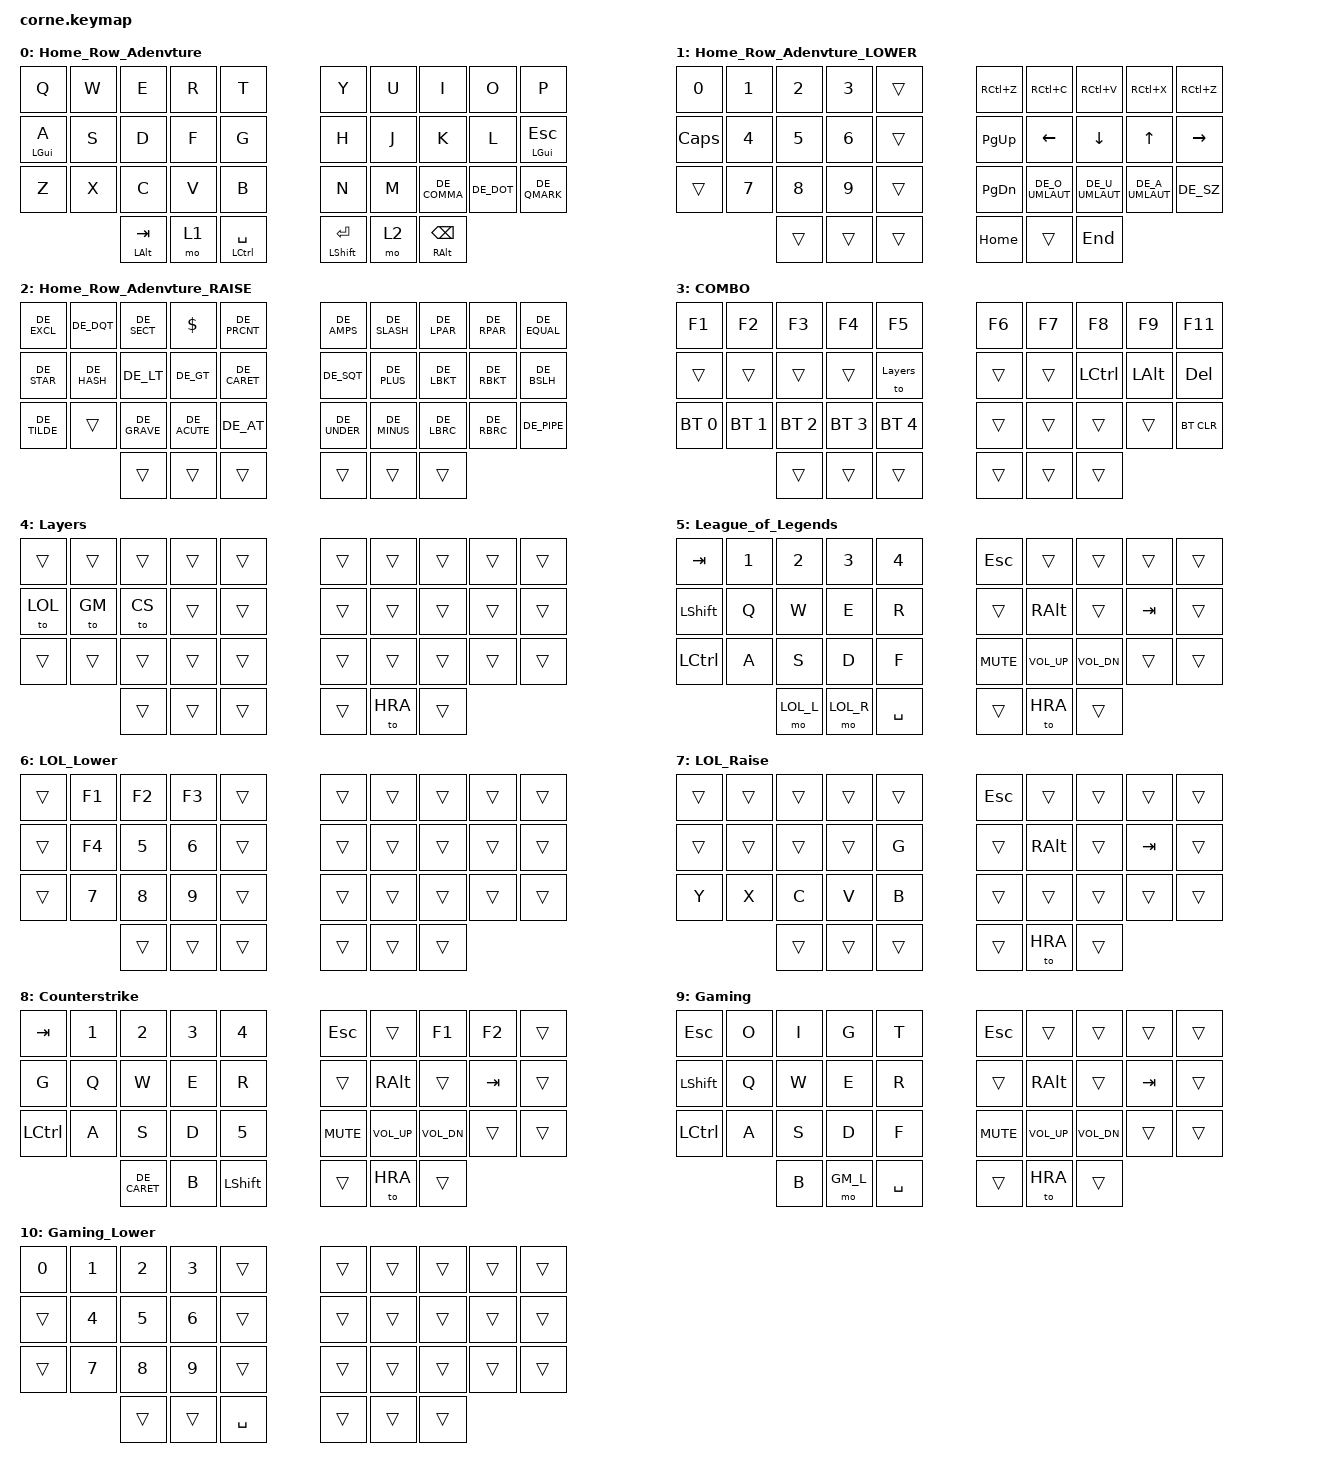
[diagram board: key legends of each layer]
/*
 * Copyright (c) 2020 The ZMK Contributors
 *
 * SPDX-License-Identifier: MIT
 */


#include "keys_de.h"
#include <behaviors.dtsi>
#include <dt-bindings/zmk/keys.h>
#include <dt-bindings/zmk/bt.h>


// Layers
#define HRA     0
#define HRA_L   1
#define HRA_R   2
#define Combo   3
#define Layers  4
#define LOL     5
#define LOL_L   6
#define LOL_R   7
#define CS      8
#define GM      9
#define GM_L    10

/ {
        chosen {
                zmk,matrix_transform = &five_column_transform;
        };
        behaviors {
            ht: hold_tap {   
                label = "hold_tap";
                compatible = "zmk,behavior-hold-tap";
                #binding-cells = <2>;
                flavor = "tap-preferred";
                tapping-term-ms = <220>;
                quick-tap-ms = <150>;
                global-quick-tap;
                bindings = <&kp>, <&kp>;
                };

    conditional_layers {
        compatible = "zmk,conditional-layers";
        combo   {
            if-layers = <1 2>;
            then-layer = <3>;
                        };
                };
        };

        keymap {
                compatible = "zmk,keymap";

                Home_Row_Adenvture {
// -----------------------------------------------------------------------------------------
// |  Q  |  W  |  E  |  R  |  T  |   |  Z  |  U   |  I  |  O  |  P   |
// |  A  |  S  |  D  |  F  |  G  |   |  H  |  J   |  K  |  L  |  ESC |
// |  Y  |  X  |  C  |  V  |  B  |   |  N  |  M   |  ,  |  .  |  ?   |
//             | TAB | LWR | SPC |   | ENT | RSE  | BSP |
                       
                        bindings = <
    &kp Q       &kp W    &kp E      &kp R  &kp T       &kp Y         &kp U  &kp I        &kp O      &kp P    
    &ht LGUI A  &kp S    &kp D      &kp F  &kp G       &kp H         &kp J  &kp K        &kp L      &ht LGUI ESC
    &kp Z       &kp X    &kp C      &kp V  &kp B       &kp N         &kp M  &kp DE_COMMA &kp DE_DOT &kp DE_QMARK 
                &ht LALT TAB &mo 1  &ht LCTRL SPACE    &ht LSHFT RET &mo 2  &ht RALT BSPC
                        >;
                };

                Home_Row_Adenvture_LOWER {
// -----------------------------------------------------------------------------------------
// |  0   |  1  |  2  |  3  |    |    |  UNDO  | COPY  | PASTE  |  CUT  |  REDO  |
// | CAPS |  4  |  5  |  6  |    |    |  PG UP |  <-   |  UP    |  DOWN |   ->   |
// |      |  7  |  8  |  9  |    |    |  PG DN |   Ö   |   Ü    |   Ä   |    ß   |
//              |     |     |    |    |  HOME  |       |  END   |

                        bindings = <
   &kp N0       &kp N1    &kp N2    &kp N3    &trans           &kp RC(Z)      &kp RC(C)           &kp RC(V)           &kp RC(X)           &kp RC(Z) 
   &kp CAPS     &kp N4    &kp N5    &kp N6    &trans           &kp PG_UP      &kp LEFT            &kp DOWN            &kp UP              &kp RIGHT  
   &trans       &kp N7    &kp N8    &kp N9    &trans           &kp PG_DN      &kp DE_O_UMLAUT     &kp DE_U_UMLAUT     &kp DE_A_UMLAUT     &kp DE_SZ    
                          &trans   &trans     &trans           &kp HOME       &trans       &kp END
                        >;
                };

                Home_Row_Adenvture_RAISE {
// -----------------------------------------------------------------------------------------
// |  !  |  "  |  §  |  $  |  %  |   |  &  |  /   |  (  |  )  |  =  |
// |  *  |  #  |  <  |  >  |  ^  |   |  '  |  +   |  [  |  ]  |  \  |
// |  ~  |     |  `  |  ´  |  @  |   |  _  |  -   |  {  |  }  |  |  |
//             |     |     |     |   |     |      |     |

                        bindings = <
   &kp DE_EXCL  &kp DE_DQT   &kp DE_SECT   &kp DLLR     &kp DE_PRCNT            &kp DE_AMPS   &kp DE_SLASH  &kp DE_LPAR &kp DE_RPAR   &kp DE_EQUAL 
   &kp DE_STAR  &kp DE_HASH  &kp DE_LT     &kp DE_GT    &kp DE_CARET            &kp DE_SQT    &kp DE_PLUS   &kp DE_LBKT &kp DE_RBKT   &kp DE_BSLH 
   &kp DE_TILDE &trans       &kp DE_GRAVE  &kp DE_ACUTE &kp DE_AT               &kp DE_UNDER  &kp DE_MINUS  &kp DE_LBRC &kp DE_RBRC   &kp DE_PIPE 
                             &trans        &trans       &trans                  &trans         &trans        &trans
                        >;
                };

                COMBO {
// -----------------------------------------------------------------------------------------
// |  F1  |  F2  |  F3  |  F4  | F5      |   |  F6   |   F7   |  F8   |  F9   |  F11   |
// |      |      |      |      | LAYERS  |   |       |        | CTRL  |  ALT  |  DEL   |
// |  BT0 |  BT1 | BT2  | BT3  | BT4     |   |       |        |       |       | BT CLR |
//               |      |      |         |   |       |        |       |

                        bindings = <
   &kp F1      &kp F2        &kp F3       &kp F4       &kp F5           &kp F6    &kp F7     &kp F8      &kp F9     &kp F11 
   &trans      &trans        &trans       &trans       &to Layers       &trans    &trans     &kp LCTRL   &kp LALT   &kp DEL   
   &bt BT_SEL 0 &bt BT_SEL 1 &bt BT_SEL 2 &bt BT_SEL 3 &bt BT_SEL 4     &trans    &trans     &trans      &trans     &bt BT_CLR 
                             &trans       &trans       &trans           &trans    &trans     &trans
                        >;
                };

                Layers {
// -----------------------------------------------------------------------------------------
// |     |        |    |            |            |      |        |   |   |   |   |   
// | LOL | Gaming | CS | Elden Ring | ARK        |      | SHAPEZ |   |   |   |   |
// |     |        |    |            |            |      |        |   |   |   |   |
//                |    |            |            |      |        |   |   |

                        bindings = <
   &trans      &trans        &trans      &trans       &trans           &trans     &trans     &trans      &trans     &trans 
   &to LOL     &to GM        &to CS      &trans       &trans           &trans     &trans      &trans     &trans     &trans
   &trans      &trans        &trans      &trans       &trans           &trans     &trans     &trans      &trans     &trans 
                             &trans      &trans       &trans           &trans     &to HRA    &trans
                        >;
                };

                League_of_Legends {
// -----------------------------------------------------------------------------------------
// |  TAB    |  1  |  2  |  3  |  4  |   | ESC     |        |        |     |     |
// |  SHFT   |  Q  |  W  |  E  |  R  |   |         | ALT    |        | TAB |     |     
// |  CTRL   |  A  |  S  |  D  |  F  |   |  MUTE   | VOL UP | VOL DN |     |     |
//                 | LWR | RSE | SPC |   |         | HRA    |        |

                        bindings = <
    &kp TAB    &kp N1  &kp N2      &kp N3      &kp N4      &kp ESC &trans    &trans  &trans   &trans    
    &kp LSHIFT &kp Q   &kp W       &kp E       &kp R       &trans  &kp RALT  &trans  &kp TAB  &trans
    &kp LCTRL  &kp A   &kp S       &kp D       &kp F       &kp C_MUTE  &kp C_VOL_UP    &kp C_VOL_DN  &trans   &trans
                       &mo LOL_L   &mo LOL_R   &kp SPACE   &trans  &to HRA   &trans
                        >;
                };
                 
                LOL_Lower {
// -----------------------------------------------------------------------------------------
// |        |  F1 |  F2 |  F3 |     |   |     |     |     |     |     |
// |        |  F4 |  5  |  6  |     |   |     |     |     |     |     |     
// |        |  7  |  8  |  9  |     |   |     |     |     |     |     |
//                |     |     |     |   |     |     |     |

                        bindings = <
   &trans      &kp F1      &kp F2       &kp F3       &trans             &trans   &trans   &trans   &trans   &trans 
   &trans      &kp F4      &kp N5       &kp N6       &trans             &trans   &trans   &trans   &trans   &trans 
   &trans      &kp N7      &kp N8       &kp N9       &trans             &trans   &trans   &trans   &trans   &trans 
                           &trans       &trans       &trans             &trans   &trans   &trans  
                        >;
                };

                LOL_Raise {
// -----------------------------------------------------------------------------------------
// |     |     |     |     |     |   | ESC |     |     |     |     |
// |     |     |     |     |  G  |   |     | ALT |     | TAB |     |     
// |  Z  |  X  |  C  |  V  |  B  |   |     |     |     |     |     |
//             |     |     |     |   |     | HRA |     |

                        bindings = <
    &trans   &trans  &trans     &trans   &trans                 &kp ESC  &trans     &trans  &trans   &trans    
    &trans   &trans  &trans     &trans   &kp G                  &trans   &kp RALT   &trans  &kp TAB  &trans 
    &kp Y    &kp X   &kp C      &kp V    &kp B                  &trans   &trans     &trans  &trans   &trans
                     &trans     &trans   &trans                 &trans   &to HRA    &trans  
                        >;
                };

                Counterstrike {
// -----------------------------------------------------------------------------------------
// |  TAB   |  1  |  2  |  3  |  4    |   | ESC |     |  F1 | F2  |     |
// |   G    |  Q  |  W  |  E  |  R    |   |     | ALT |     | TAB |     |     
// |  CTRL  |  A  |  S  |  D  |  5    |   |     |     |     |     |     |
//                |Audio|  B  |  SHFT |   |     | HRA |     |

                        bindings = <
    &kp TAB     &kp N1  &kp N2         &kp N3  &kp N4     &kp ESC &trans    &kp F1  &kp F2   &trans    
    &kp G       &kp Q   &kp W          &kp E   &kp R      &trans  &kp RALT  &trans  &kp TAB  &trans
    &kp LCTRL   &kp A   &kp S          &kp D   &kp N5     &kp C_MUTE  &kp C_VOL_UP  &kp C_VOL_DN  &trans   &trans
                        &kp DE_CARET   &kp B   &kp LSHFT  &trans  &to HRA   &trans
                        >;
                };

                Gaming {
// -----------------------------------------------------------------------------------------
// |  ESC    |  O  |  I  |  G  |  T  |   | ESC |     |     |     |     |
// |  SHFT   |  Q  |  W  |  E  |  R  |   |     | ALT |     | TAB |     |
// |  CTRL   |  A  |  S  |  D  |  F  |   |     |     |     |     |     |
//                 |  B  | LWR | SPC |   |     | HRA |     |

                        bindings = <
    &kp ESC     &kp O  &kp I  &kp G     &kp T       &kp ESC     &trans        &trans        &trans   &trans 
    &kp LSHIFT  &kp Q  &kp W  &kp E     &kp R       &trans      &kp RALT      &trans        &kp TAB  &trans 
    &kp LCTRL   &kp A  &kp S  &kp D     &kp F       &kp C_MUTE  &kp C_VOL_UP  &kp C_VOL_DN  &trans   &trans
                       &kp B  &mo GM_L  &kp SPACE   &trans      &to HRA       &trans
                        >;
                };

                Gaming_Lower {
// -----------------------------------------------------------------------------------------
// |  0  |  1  |  2  |  3  |      |   |     |      |     |     |     |
// |     |  4  |  5  |  6  |      |   |     |      |     |     |     |
// |     |  7  |  8  |  9  |      |   |     |      |     |     |     |
//             |     |     |  SPC |   |     |      |     |

                        bindings = <
   &kp N0   &kp N1    &kp N2   &kp N3    &trans        &trans   &trans   &trans  &trans   &trans 
   &trans   &kp N4    &kp N5   &kp N6    &trans        &trans   &trans   &trans  &trans   &trans 
   &trans   &kp N7    &kp N8   &kp N9    &trans        &trans   &trans   &trans  &trans   &trans 
                      &trans   &trans    &kp SPACE     &trans   &trans   &trans
                        >;
                };
        };
};
